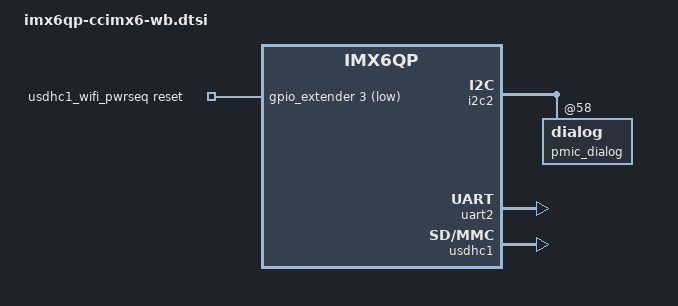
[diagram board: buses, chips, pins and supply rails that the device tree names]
/*
 * Copyright (C) 2017-2025, Digi International Inc.
 *
 * Permission to use, copy, modify, and/or distribute this software for any
 * purpose with or without fee is hereby granted, provided that the above
 * copyright notice and this permission notice appear in all copies.
 *
 * THE SOFTWARE IS PROVIDED "AS IS" AND THE AUTHOR DISCLAIMS ALL WARRANTIES
 * WITH REGARD TO THIS SOFTWARE INCLUDING ALL IMPLIED WARRANTIES OF
 * MERCHANTABILITY AND FITNESS. IN NO EVENT SHALL THE AUTHOR BE LIABLE FOR
 * ANY SPECIAL, DIRECT, INDIRECT, OR CONSEQUENTIAL DAMAGES OR ANY DAMAGES
 * WHATSOEVER RESULTING FROM LOSS OF USE, DATA OR PROFITS, WHETHER IN AN
 * ACTION OF CONTRACT, NEGLIGENCE OR OTHER TORTIOUS ACTION, ARISING OUT OF
 * OR IN CONNECTION WITH THE USE OR PERFORMANCE OF THIS SOFTWARE.
 */

/* ConnectCore 6 QuadPlus (common) */
#include "imx6qp-ccimx6.dtsi"

/ {
	bluetooth: bluetooth {
		/* U-Boot will fill in the MAC address here */
	};

	usdhc1_wifi_pwrseq: usdhc1-wifi-pwrseq {
		compatible = "mmc-pwrseq-simple";
		post-power-on-delay-ms = <5>;
		reset-gpios = <&gpio_extender 3 GPIO_ACTIVE_LOW>; /* WL_DISABLE */
	};

	wireless {
		/* U-Boot will fill in the MAC address here */
	};
};

&i2c2 {
	pmic_dialog: dialog@58 {
		regulators {
			bio {
				regulator-always-on;
			};

			ldo2 {
				regulator-always-on;
			};
		};
	};
};

/* UART2 (Bluetooth) */
&uart2 {
	status = "okay";
};

/* USDHC1 (Wireless) */
&usdhc1 {
	no-1-8-v;
	mmc-pwrseq = <&usdhc1_wifi_pwrseq>;
	status = "okay";
};
